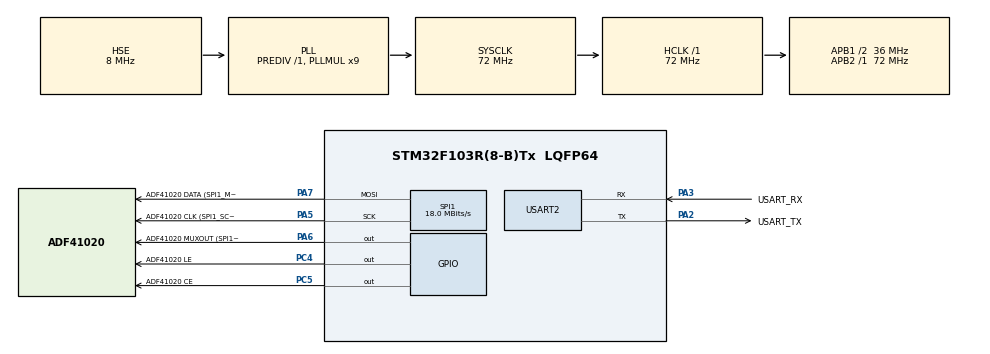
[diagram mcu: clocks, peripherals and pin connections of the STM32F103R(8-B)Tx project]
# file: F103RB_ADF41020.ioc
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ADC1.Channel-1\#ChannelRegularConversion=ADC_CHANNEL_TEMPSENSOR
ADC1.NbrOfConversionFlag=1
ADC1.Rank-1\#ChannelRegularConversion=1
ADC1.SamplingTime-1\#ChannelRegularConversion=ADC_SAMPLETIME_1CYCLE_5
ADC1.master=1
Dma.ADC1.0.Direction=DMA_PERIPH_TO_MEMORY
Dma.ADC1.0.Instance=DMA1_Channel1
Dma.ADC1.0.MemDataAlignment=DMA_MDATAALIGN_HALFWORD
Dma.ADC1.0.MemInc=DMA_MINC_ENABLE
Dma.ADC1.0.Mode=DMA_NORMAL
Dma.ADC1.0.PeriphDataAlignment=DMA_PDATAALIGN_HALFWORD
Dma.ADC1.0.PeriphInc=DMA_PINC_DISABLE
Dma.ADC1.0.Priority=DMA_PRIORITY_LOW
Dma.Request0=ADC1
Mcu.Family=STM32F1
Mcu.Name=STM32F103R(8-B)Tx
Mcu.Package=LQFP64
NVIC.DMA1_Channel1_IRQn=true\:0\:0\:false\:false\:true\:false\:true\:true
NVIC.PriorityGroup=NVIC_PRIORITYGROUP_4
NVIC.USART2_IRQn=true\:0\:0\:false\:false\:true\:true\:true\:true
PA13.Mode=Serial_Wire
PA13.Signal=SYS_JTMS-SWDIO
PA14.Mode=Serial_Wire
PA14.Signal=SYS_JTCK-SWCLK
PA2.GPIO_Label=USART_TX
PA2.Mode=Asynchronous
PA2.Signal=USART2_TX
PA3.GPIO_Label=USART_RX
PA3.Mode=Asynchronous
PA3.Signal=USART2_RX
PA5.GPIO_Label=ADF41020 CLK (SPI1_SCK)
PA5.Mode=TX_Only_Simplex_Unidirect_Master
PA5.Signal=SPI1_SCK
PA6.GPIO_Label=ADF41020 MUXOUT (SPI1_MISO)
PA6.Signal=GPIO_Output
PA7.GPIO_Label=ADF41020 DATA (SPI1_MOSI)
PA7.Mode=TX_Only_Simplex_Unidirect_Master
PA7.Signal=SPI1_MOSI
PC4.GPIO_Label=ADF41020 LE
PC4.Signal=GPIO_Output
PC5.GPIO_Label=ADF41020 CE
PC5.Signal=GPIO_Output
PD0-OSC_IN.Mode=HSE-External-Oscillator
PD0-OSC_IN.Signal=RCC_OSC_IN
PD1-OSC_OUT.Mode=HSE-External-Oscillator
PD1-OSC_OUT.Signal=RCC_OSC_OUT
ProjectManager.HeapSize=0x200
ProjectManager.StackSize=0x400
ProjectManager.TargetToolchain=STM32CubeIDE
RCC.ADCPresc=RCC_ADCPCLK2_DIV6
RCC.AHBFreq_Value=72000000
RCC.APB1CLKDivider=RCC_HCLK_DIV2
RCC.APB1Freq_Value=36000000
RCC.APB1TimFreq_Value=72000000
RCC.APB2Freq_Value=72000000
RCC.APB2TimFreq_Value=72000000
RCC.HCLKFreq_Value=72000000
RCC.PLLMUL=RCC_PLL_MUL9
RCC.PLLSourceVirtual=RCC_PLLSOURCE_HSE
RCC.SYSCLKFreq_VALUE=72000000
RCC.SYSCLKSource=RCC_SYSCLKSOURCE_PLLCLK
RCC.USBFreq_Value=72000000
SPI1.BaudRatePrescaler=SPI_BAUDRATEPRESCALER_4
SPI1.CLKPhase=SPI_PHASE_1EDGE
SPI1.CLKPolarity=SPI_POLARITY_LOW
SPI1.CRCCalculation=SPI_CRCCALCULATION_DISABLE
SPI1.CalculateBaudRate=18.0 MBits/s
SPI1.Direction=SPI_DIRECTION_2LINES
SPI1.Mode=SPI_MODE_MASTER
SPI1.VirtualType=VM_MASTER
USART2.VirtualMode=VM_ASYNC
VP_ADC1_TempSens_Input.Mode=IN-TempSens
VP_RTC_VS_RTC_Activate.Mode=RTC_Enabled
VP_RTC_VS_RTC_Calendar.Mode=RTC_Calendar
board=custom

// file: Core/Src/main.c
/* USER CODE BEGIN Header */
/**
  ******************************************************************************
  * @file           : main.c
  * @brief          : Main program body
  ******************************************************************************
  * @attention
  *
  * Copyright (c) 2024 STMicroelectronics.
  * All rights reserved.
  *
  * This software is licensed under terms that can be found in the LICENSE file
  * in the root directory of this software component.
  * If no LICENSE file comes with this software, it is provided AS-IS.
  *
  ******************************************************************************
  */
/* USER CODE END Header */
#include "main.h"

/* USER CODE BEGIN Includes */
#include <string.h>
#include "ADF41020.h"
#include "circular_buffer.h"
/* USER CODE END Includes */

ADC_HandleTypeDef hadc1;
DMA_HandleTypeDef hdma_adc1;

RTC_HandleTypeDef hrtc;

SPI_HandleTypeDef hspi1;

void SystemClock_Config(void);
static void MX_GPIO_Init(void);
static void MX_DMA_Init(void);
static void MX_ADC1_Init(void);
static void MX_USART2_UART_Init(void);
static void MX_SPI1_Init(void);
static void MX_RTC_Init(void);
/* USER CODE BEGIN PFP */
cbuf_handle_t rxBuffer = NULL;
const uint8_t myaddr = 0x01;
uint32_t adc_value_temp = 0;//считывание температуры в МК 32бита
uint8_t adc_val_temp_tx[4] = {0};//выдача по USART температуры по байтно 32 -> 8
volatile uint8_t flag_adc1_ready = 0;

uint8_t cnt_global = 0;
/* USER CODE END PFP */

int main(void)
{

  /* MCU Configuration--------------------------------------------------------*/

  /* Reset of all peripherals, Initializes the Flash interface and the Systick. */
  HAL_Init();

  /* Configure the system clock */
  SystemClock_Config();

  /* Initialize all configured peripherals */
  MX_GPIO_Init();
  MX_DMA_Init();
  MX_ADC1_Init();
  MX_USART2_UART_Init();
  MX_SPI1_Init();
  MX_RTC_Init();
  /* USER CODE BEGIN 2 */

  HAL_ADC_Start_DMA(&hadc1, &adc_value_temp, 1);//Сразу опрос температурного АЦП1

  cmd_sm_init();
  char ident_string[] = "ADF41020 PLL Controller v1;";//при старте выслали значение первой версии настройки PLL

  cnt_global = HAL_RTCEx_BKUPRead(&hrtc, RTC_BKP_DR9);//взял самый бональный способ продемонстрировать работу с backup регистром, не совсем понял какие данные нужно обязательно сохранять

  uint8_t ii = 0;
  while(ii < (sizeof(ident_string)-1) && (!(LL_USART_GetTransferDirection(USART2) & LL_USART_DIRECTION_TX)))
  		  	  	  	  {
  		  	  	  	   		  	  LL_USART_SetTransferDirection(USART2, LL_USART_DIRECTION_TX);
  		  	  	  		          LL_USART_ClearFlag_TC(USART2);
  		  	  	  		          LL_USART_EnableIT_TC(USART2);
  		  	  	  		          LL_USART_EnableIT_TXE(USART2);
  		  	  	  		          LL_USART_TransmitData8(USART2, (uint8_t)ident_string[ii]);// тут на плате бы проверил, чтобы удостовериться в корректной передачи
  		  	  	  		          ii++;
  		  	  	  	  };
  //HAL_UART_Transmit(&huart2, (uint8_t*)ident_string, sizeof(ident_string)-1, 1000);//Можно и так с помощью HAL

  /* USER CODE END 2 */

  /* Infinite loop */
  /* USER CODE BEGIN WHILE */
  while (1)
  {
	  /*
	   *
	   * Подобие буфера для обработки команд с USART,
	   * с помощью глобального прерывания, внешнего в USART2_IRQHandler(void)
	   * записываем все что пришло и ниже обрабатываем
	   * */
	  size_t len = circular_buf_size(rxBuffer);
	         while (len--) {
	             uint8_t c;
	             if (circular_buf_get(rxBuffer, &c)<0) break;// проверка данных
	             proto_process_byte(c);// обработка принятых байт в соответствии с "протоколом"
	         }

	         if(flag_adc1_ready==0)
	         HAL_ADC_Start_DMA(&hadc1, (uint32_t*)&adc_value_temp, 1);//перезапустили каналы АЦП для последующего считывания

	         cnt_global++;
	         HAL_RTCEx_BKUPWrite(&hrtc, RTC_BKP_DR9, cnt_global);//предварительно оставил так , как заглушку.
    /* USER CODE END WHILE */

  }
}

void SystemClock_Config(void)
{
  RCC_OscInitTypeDef RCC_OscInitStruct = {0};
  RCC_ClkInitTypeDef RCC_ClkInitStruct = {0};
  RCC_PeriphCLKInitTypeDef PeriphClkInit = {0};

  /** Initializes the RCC Oscillators according to the specified parameters
  * in the RCC_OscInitTypeDef structure.
  */
  RCC_OscInitStruct.OscillatorType = RCC_OSCILLATORTYPE_LSI|RCC_OSCILLATORTYPE_HSE;
  RCC_OscInitStruct.HSEState = RCC_HSE_ON;
  RCC_OscInitStruct.HSEPredivValue = RCC_HSE_PREDIV_DIV1;
  RCC_OscInitStruct.HSIState = RCC_HSI_ON;
  RCC_OscInitStruct.LSIState = RCC_LSI_ON;
  RCC_OscInitStruct.PLL.PLLState = RCC_PLL_ON;
  RCC_OscInitStruct.PLL.PLLSource = RCC_PLLSOURCE_HSE;
  RCC_OscInitStruct.PLL.PLLMUL = RCC_PLL_MUL9;
  if (HAL_RCC_OscConfig(&RCC_OscInitStruct) != HAL_OK)
  {
    Error_Handler();
  }

  /** Initializes the CPU, AHB and APB buses clocks
  */
  RCC_ClkInitStruct.ClockType = RCC_CLOCKTYPE_HCLK|RCC_CLOCKTYPE_SYSCLK
                              |RCC_CLOCKTYPE_PCLK1|RCC_CLOCKTYPE_PCLK2;
  RCC_ClkInitStruct.SYSCLKSource = RCC_SYSCLKSOURCE_PLLCLK;
  RCC_ClkInitStruct.AHBCLKDivider = RCC_SYSCLK_DIV1;
  RCC_ClkInitStruct.APB1CLKDivider = RCC_HCLK_DIV2;
  RCC_ClkInitStruct.APB2CLKDivider = RCC_HCLK_DIV1;

  if (HAL_RCC_ClockConfig(&RCC_ClkInitStruct, FLASH_LATENCY_2) != HAL_OK)
  {
    Error_Handler();
  }
  PeriphClkInit.PeriphClockSelection = RCC_PERIPHCLK_RTC|RCC_PERIPHCLK_ADC;
  PeriphClkInit.RTCClockSelection = RCC_RTCCLKSOURCE_LSI;
  PeriphClkInit.AdcClockSelection = RCC_ADCPCLK2_DIV6;
  if (HAL_RCCEx_PeriphCLKConfig(&PeriphClkInit) != HAL_OK)
  {
    Error_Handler();
  }
}

static void MX_ADC1_Init(void)
{

  ADC_ChannelConfTypeDef sConfig = {0};

  /** Common config
  */
  hadc1.Instance = ADC1;
  hadc1.Init.ScanConvMode = ADC_SCAN_DISABLE;
  hadc1.Init.ContinuousConvMode = DISABLE;
  hadc1.Init.DiscontinuousConvMode = DISABLE;
  hadc1.Init.ExternalTrigConv = ADC_SOFTWARE_START;
  hadc1.Init.DataAlign = ADC_DATAALIGN_RIGHT;
  hadc1.Init.NbrOfConversion = 1;
  if (HAL_ADC_Init(&hadc1) != HAL_OK)
  {
    Error_Handler();
  }

  /** Configure Regular Channel
  */
  sConfig.Channel = ADC_CHANNEL_TEMPSENSOR;
  sConfig.Rank = ADC_REGULAR_RANK_1;
  sConfig.SamplingTime = ADC_SAMPLETIME_1CYCLE_5;
  if (HAL_ADC_ConfigChannel(&hadc1, &sConfig) != HAL_OK)
  {
    Error_Handler();
  }

}

static void MX_RTC_Init(void)
{

  RTC_TimeTypeDef sTime = {0};
  RTC_DateTypeDef DateToUpdate = {0};

  /** Initialize RTC Only
  */
  hrtc.Instance = RTC;
  hrtc.Init.AsynchPrediv = RTC_AUTO_1_SECOND;
  hrtc.Init.OutPut = RTC_OUTPUTSOURCE_ALARM;
  if (HAL_RTC_Init(&hrtc) != HAL_OK)
  {
    Error_Handler();
  }

  /** Initialize RTC and set the Time and Date
  */
  sTime.Hours = 0x0;
  sTime.Minutes = 0x0;
  sTime.Seconds = 0x0;

  if (HAL_RTC_SetTime(&hrtc, &sTime, RTC_FORMAT_BCD) != HAL_OK)
  {
    Error_Handler();
  }
  DateToUpdate.WeekDay = RTC_WEEKDAY_MONDAY;
  DateToUpdate.Month = RTC_MONTH_JANUARY;
  DateToUpdate.Date = 0x1;
  DateToUpdate.Year = 0x0;

  if (HAL_RTC_SetDate(&hrtc, &DateToUpdate, RTC_FORMAT_BCD) != HAL_OK)
  {
    Error_Handler();
  }

}

static void MX_SPI1_Init(void)
{

  /* SPI1 parameter configuration*/
  hspi1.Instance = SPI1;
  hspi1.Init.Mode = SPI_MODE_MASTER;
  hspi1.Init.Direction = SPI_DIRECTION_2LINES;
  hspi1.Init.DataSize = SPI_DATASIZE_8BIT;
  hspi1.Init.CLKPolarity = SPI_POLARITY_LOW;
  hspi1.Init.CLKPhase = SPI_PHASE_1EDGE;
  hspi1.Init.NSS = SPI_NSS_SOFT;
  hspi1.Init.BaudRatePrescaler = SPI_BAUDRATEPRESCALER_4;
  hspi1.Init.FirstBit = SPI_FIRSTBIT_MSB;
  hspi1.Init.TIMode = SPI_TIMODE_DISABLE;
  hspi1.Init.CRCCalculation = SPI_CRCCALCULATION_DISABLE;
  hspi1.Init.CRCPolynomial = 10;
  if (HAL_SPI_Init(&hspi1) != HAL_OK)
  {
    Error_Handler();
  }

}

static void MX_USART2_UART_Init(void)
{

  LL_USART_InitTypeDef USART_InitStruct = {0};

  LL_GPIO_InitTypeDef GPIO_InitStruct = {0};

  /* Peripheral clock enable */
  LL_APB1_GRP1_EnableClock(LL_APB1_GRP1_PERIPH_USART2);

  LL_APB2_GRP1_EnableClock(LL_APB2_GRP1_PERIPH_GPIOA);
  /**USART2 GPIO Configuration
  PA2   ------> USART2_TX
  PA3   ------> USART2_RX
  */
  GPIO_InitStruct.Pin = LL_GPIO_PIN_2;
  GPIO_InitStruct.Mode = LL_GPIO_MODE_ALTERNATE;
  GPIO_InitStruct.Speed = LL_GPIO_SPEED_FREQ_HIGH;
  GPIO_InitStruct.OutputType = LL_GPIO_OUTPUT_PUSHPULL;
  LL_GPIO_Init(GPIOA, &GPIO_InitStruct);

  GPIO_InitStruct.Pin = LL_GPIO_PIN_3;
  GPIO_InitStruct.Mode = LL_GPIO_MODE_FLOATING;
  LL_GPIO_Init(GPIOA, &GPIO_InitStruct);

  /* USART2 interrupt Init */
  NVIC_SetPriority(USART2_IRQn, NVIC_EncodePriority(NVIC_GetPriorityGrouping(),0, 0));
  NVIC_EnableIRQ(USART2_IRQn);

  USART_InitStruct.BaudRate = 115200;
  USART_InitStruct.DataWidth = LL_USART_DATAWIDTH_8B;
  USART_InitStruct.StopBits = LL_USART_STOPBITS_1;
  USART_InitStruct.Parity = LL_USART_PARITY_NONE;
  USART_InitStruct.TransferDirection = LL_USART_DIRECTION_TX_RX;
  USART_InitStruct.HardwareFlowControl = LL_USART_HWCONTROL_NONE;
  USART_InitStruct.OverSampling = LL_USART_OVERSAMPLING_16;
  LL_USART_Init(USART2, &USART_InitStruct);
  LL_USART_ConfigAsyncMode(USART2);
  LL_USART_Enable(USART2);

}

static void MX_DMA_Init(void)
{

  /* DMA controller clock enable */
  __HAL_RCC_DMA1_CLK_ENABLE();

  /* DMA interrupt init */
  /* DMA1_Channel1_IRQn interrupt configuration */
  HAL_NVIC_SetPriority(DMA1_Channel1_IRQn, 0, 0);
  HAL_NVIC_EnableIRQ(DMA1_Channel1_IRQn);

}

static void MX_GPIO_Init(void)
{
  GPIO_InitTypeDef GPIO_InitStruct = {0};

  /* GPIO Ports Clock Enable */
  __HAL_RCC_GPIOD_CLK_ENABLE();
  __HAL_RCC_GPIOA_CLK_ENABLE();
  __HAL_RCC_GPIOC_CLK_ENABLE();

  /*Configure GPIO pin Output Level */
  HAL_GPIO_WritePin(ADF41020_MUXOUT_GPIO_Port, ADF41020_MUXOUT_Pin, GPIO_PIN_RESET);

  /*Configure GPIO pin Output Level */
  HAL_GPIO_WritePin(GPIOC, ADF41020_LE_Pin|ADF41020_CE_Pin, GPIO_PIN_RESET);

  /*Configure GPIO pin : ADF41020_MUXOUT_Pin */
  GPIO_InitStruct.Pin = ADF41020_MUXOUT_Pin;
  GPIO_InitStruct.Mode = GPIO_MODE_OUTPUT_PP;
  GPIO_InitStruct.Pull = GPIO_NOPULL;
  GPIO_InitStruct.Speed = GPIO_SPEED_FREQ_LOW;
  HAL_GPIO_Init(ADF41020_MUXOUT_GPIO_Port, &GPIO_InitStruct);

  /*Configure GPIO pins : ADF41020_LE_Pin ADF41020_CE_Pin */
  GPIO_InitStruct.Pin = ADF41020_LE_Pin|ADF41020_CE_Pin;
  GPIO_InitStruct.Mode = GPIO_MODE_OUTPUT_PP;
  GPIO_InitStruct.Pull = GPIO_NOPULL;
  GPIO_InitStruct.Speed = GPIO_SPEED_FREQ_LOW;
  HAL_GPIO_Init(GPIOC, &GPIO_InitStruct);

}

/* USER CODE BEGIN 4 */
/******************************************************************************/
/* STM32F1xx Peripheral Interrupt Handlers                                    */
/* Add here the Interrupt Handlers for the used peripherals.                  */
/* For the available peripheral interrupt handler names,                      */
/* please refer to the startup file (startup_stm32f1xx.s).                    */
/******************************************************************************/

/**
  * @brief This function handles USART2 global interrupt.
  */
void USART2_IRQHandler(void)
{
  /* USER CODE BEGIN USART2_IRQn 0 */

  /* USER CODE END USART2_IRQn 0 */
  /* USER CODE BEGIN USART2_IRQn 1 */
	if (LL_USART_IsActiveFlag_RXNE(USART2) && LL_USART_IsActiveFlag_RXNE(USART2)) {
	        uint16_t c = LL_USART_ReceiveData8(USART2);//записываем принятые байты данных
	        circular_buf_try_put(rxBuffer, c & 0xFF);// перемещаем в rxBuffer созданный на основе структуры circular_buf_t
	    }
  /* USER CODE END USART2_IRQn 1 */
}

void HAL_ADC_ConvCpltCallback(ADC_HandleTypeDef* hadc)
{
   if(hadc->Instance == ADC1) //проверка если что-то идёт на ACD1 (АЦП1)
   {
	   flag_adc1_ready = 1;
   }
}
adf41020_init_param pll_config;
void cmd_sm_init() {

  // initialize pll_config structure
  pll_config.clkin = 10e6;
  pll_config.channel_spacing = 100;
  pll_config.power_up_frequency = 146e6;
  pll_config.reference_div_factor = 1;
  pll_config.reference_doubler_enable = 0;
  pll_config.reference_div2_enable = 0;

  adf41020_out_altvoltage0_powerdown(0); // power down PLL
  adf41020_setup(pll_config);
}
/* USER CODE END 4 */

void Error_Handler(void)
{
  __disable_irq();
  while (1)
  {
  }
}
